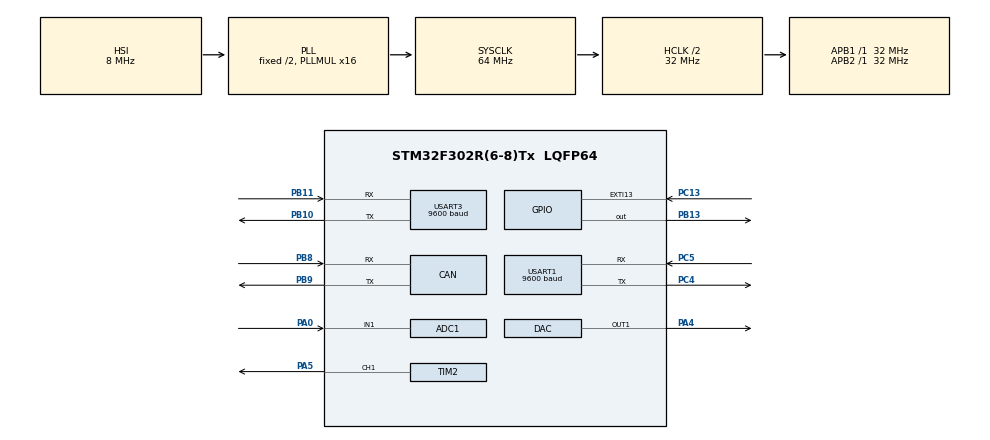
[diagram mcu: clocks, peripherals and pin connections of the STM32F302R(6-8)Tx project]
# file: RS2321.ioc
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ADC1.Channel-2\#ChannelRegularConversion=ADC_CHANNEL_1
ADC1.ClockPrescaler=ADC_CLOCK_ASYNC_DIV1
ADC1.ContinuousConvMode=DISABLE
ADC1.DMAContinuousRequests=DISABLE
ADC1.DataAlign=ADC_DATAALIGN_RIGHT
ADC1.DiscontinuousConvMode=DISABLE
ADC1.EOCSelection=ADC_EOC_SINGLE_CONV
ADC1.EnableAnalogWatchDog1=false
ADC1.EnableAnalogWatchDog2=false
ADC1.EnableAnalogWatchDog3=false
ADC1.EnableInjectedConversion=ENABLE
ADC1.EnableRegularConversion=ENABLE
ADC1.ExternalTrigConv=ADC_SOFTWARE_START
ADC1.ExternalTrigConvEdge=ADC_EXTERNALTRIGCONVEDGE_NONE
ADC1.InjNumberOfConversion=0
ADC1.LowPowerAutoWait=DISABLE
ADC1.NbrOfConversion=1
ADC1.NbrOfConversionFlag=1
ADC1.Offset-2\#ChannelRegularConversion=0
ADC1.OffsetNumber-2\#ChannelRegularConversion=ADC_OFFSET_NONE
ADC1.Overrun=ADC_OVR_DATA_OVERWRITTEN
ADC1.Rank-2\#ChannelRegularConversion=1
ADC1.Resolution=ADC_RESOLUTION_12B
ADC1.SamplingTime-2\#ChannelRegularConversion=ADC_SAMPLETIME_1CYCLE_5
ADC1.ScanConvMode=ADC_SCAN_DISABLE
ADC1.master=1
CAN.CalculateTimeQuantum=500.0
FREERTOS.Tasks01=defaultTask,0,128,StartDefaultTask,Default,NULL,Dynamic,NULL,NULL;LedFlashTask,-2,128,StartLedFlashTask,Default,NULL,Dynamic,NULL,NULL;ReadADC1Task,0,128,StartReadADC1Task,Default,NULL,Dynamic,NULL,NULL
Mcu.Family=STM32F3
Mcu.Name=STM32F302R(6-8)Tx
Mcu.Package=LQFP64
NVIC.PriorityGroup=NVIC_PRIORITYGROUP_4
NVIC.TIM2_IRQn=true\:5\:0\:false\:false\:true\:true\:true
NVIC.USART1_IRQn=true\:5\:0\:false\:false\:true\:true\:true
PA0.Mode=IN1-Single-Ended
PA0.Signal=ADC1_IN1
PA4.Signal=COMP_DAC1_group
PA5.Signal=S_TIM2_CH1_ETR
PB10.Mode=Asynchronous
PB10.Signal=USART3_TX
PB11.Mode=Asynchronous
PB11.Signal=USART3_RX
PB13.PinState=GPIO_PIN_RESET
PB13.Signal=GPIO_Output
PB8.Mode=Master
PB8.Signal=CAN_RX
PB9.Mode=Master
PB9.Signal=CAN_TX
PC13.Signal=GPXTI13
PC4.Mode=Asynchronous
PC4.Signal=USART1_TX
PC5.Mode=Asynchronous
PC5.Signal=USART1_RX
ProjectManager.HeapSize=0x200
ProjectManager.StackSize=0x400
ProjectManager.TargetToolchain=MDK-ARM V5
RCC.ADC12PRES=RCC_ADC1PLLCLK_DIV8
RCC.AHBCLKDivider=RCC_SYSCLK_DIV2
RCC.AHBFreq_Value=32000000
RCC.APB1Freq_Value=32000000
RCC.APB1TimFreq_Value=32000000
RCC.APB2Freq_Value=32000000
RCC.APB2TimFreq_Value=32000000
RCC.CortexFreq_Value=32000000
RCC.HCLKFreq_Value=32000000
RCC.HSE_VALUE=8000000
RCC.HSI_VALUE=8000000
RCC.LSE_VALUE=32768
RCC.PLLMUL=RCC_PLL_MUL16
RCC.SYSCLKFreq_VALUE=64000000
RCC.SYSCLKSourceVirtual=RCC_SYSCLKSOURCE_PLLCLK
RCC.USBFreq_Value=64000000
RTC.Date=21
RTC.Month=RTC_MONTH_NOVEMBER
RTC.WeekDay=RTC_WEEKDAY_WEDNESDAY
RTC.Year=18
SH.COMP_DAC1_group.0=DAC_OUT1,DAC_OUT1
SH.S_TIM2_CH1_ETR.0=TIM2_CH1,PWM Generation1 CH1
TIM2.Channel-PWM\ Generation1\ CH1=TIM_CHANNEL_1
TIM2.Period=100-1
TIM2.Prescaler=320-1
TIM2.Pulse-PWM\ Generation1\ CH1=50
USART1.BaudRate=9600
USART1.VirtualMode-Asynchronous=VM_ASYNC
USART3.BaudRate=9600
USART3.VirtualMode-Asynchronous=VM_ASYNC
VP_CRC_VS_CRC.Mode=CRC_Activate
VP_FREERTOS_VS_ENABLE.Mode=Enabled
VP_IWDG_VS_IWDG.Mode=IWDG_Activate
VP_RTC_VS_RTC_Activate.Mode=RTC_Enabled
VP_RTC_VS_RTC_Calendar.Mode=RTC_Calendar
VP_TIM2_VS_ClockSourceINT.Mode=Internal
board=custom

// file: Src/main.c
/**
  ******************************************************************************
  * @file           : main.c
  * @brief          : Main program body
  ******************************************************************************
  * This notice applies to any and all portions of this file
  * that are not between comment pairs USER CODE BEGIN and
  * USER CODE END. Other portions of this file, whether
  * inserted by the user or by software development tools
  * are owned by their respective copyright owners.
  *
  * Copyright (c) 2018 STMicroelectronics International N.V.
  * All rights reserved.
  *
  * Redistribution and use in source and binary forms, with or without
  * modification, are permitted, provided that the following conditions are met:
  *
  * 1. Redistribution of source code must retain the above copyright notice,
  *    this list of conditions and the following disclaimer.
  * 2. Redistributions in binary form must reproduce the above copyright notice,
  *    this list of conditions and the following disclaimer in the documentation
  *    and/or other materials provided with the distribution.
  * 3. Neither the name of STMicroelectronics nor the names of other
  *    contributors to this software may be used to endorse or promote products
  *    derived from this software without specific written permission.
  * 4. This software, including modifications and/or derivative works of this
  *    software, must execute solely and exclusively on microcontroller or
  *    microprocessor devices manufactured by or for STMicroelectronics.
  * 5. Redistribution and use of this software other than as permitted under
  *    this license is void and will automatically terminate your rights under
  *    this license.
  *
  * THIS SOFTWARE IS PROVIDED BY STMICROELECTRONICS AND CONTRIBUTORS "AS IS"
  * AND ANY EXPRESS, IMPLIED OR STATUTORY WARRANTIES, INCLUDING, BUT NOT
  * LIMITED TO, THE IMPLIED WARRANTIES OF MERCHANTABILITY, FITNESS FOR A
  * PARTICULAR PURPOSE AND NON-INFRINGEMENT OF THIRD PARTY INTELLECTUAL PROPERTY
  * RIGHTS ARE DISCLAIMED TO THE FULLEST EXTENT PERMITTED BY LAW. IN NO EVENT
  * SHALL STMICROELECTRONICS OR CONTRIBUTORS BE LIABLE FOR ANY DIRECT, INDIRECT,
  * INCIDENTAL, SPECIAL, EXEMPLARY, OR CONSEQUENTIAL DAMAGES (INCLUDING, BUT NOT
  * LIMITED TO, PROCUREMENT OF SUBSTITUTE GOODS OR SERVICES; LOSS OF USE, DATA,
  * OR PROFITS; OR BUSINESS INTERRUPTION) HOWEVER CAUSED AND ON ANY THEORY OF
  * LIABILITY, WHETHER IN CONTRACT, STRICT LIABILITY, OR TORT (INCLUDING
  * NEGLIGENCE OR OTHERWISE) ARISING IN ANY WAY OUT OF THE USE OF THIS SOFTWARE,
  * EVEN IF ADVISED OF THE POSSIBILITY OF SUCH DAMAGE.
  *
  ******************************************************************************
  */
#include "main.h"
#include "stm32f3xx_hal.h"
#include "cmsis_os.h"

ADC_HandleTypeDef hadc1;

CAN_HandleTypeDef hcan;

CRC_HandleTypeDef hcrc;

DAC_HandleTypeDef hdac;

IWDG_HandleTypeDef hiwdg;

RTC_HandleTypeDef hrtc;

TIM_HandleTypeDef htim2;

UART_HandleTypeDef huart1;
UART_HandleTypeDef huart3;

osThreadId defaultTaskHandle;
osThreadId LedFlashTaskHandle;
osThreadId ReadADC1TaskHandle;

/* USER CODE BEGIN PV */
/* Private variables ---------------------------------------------------------*/
int  cnt_Timer2=0;
int  cnt_WatchDog=0;
UART_HandleTypeDef UartHandle;
uint32_t adc1_value=0;
uint8_t aShowTime[50] = {0};
float adc1_RealValue=0;

uint8_t aTxBuffer[10];
uint8_t aRxBuffer[1];
uint8_t aRxTempBuffer[26];
_Bool usartRecvFlag=RESET;
_Bool firstJumpToFlag=RESET;
_Bool recvUpdateCmd=RESET;
_Bool feedDogFlag=SET;

/* USER CODE END PV */

void SystemClock_Config(void);
static void MX_GPIO_Init(void);
static void MX_USART1_UART_Init(void);
static void MX_TIM2_Init(void);
static void MX_RTC_Init(void);
static void MX_IWDG_Init(void);
static void MX_CAN_Init(void);
static void MX_ADC1_Init(void);
static void MX_DAC_Init(void);
static void MX_CRC_Init(void);
static void MX_USART3_UART_Init(void);
void StartDefaultTask(void const * argument);
void StartLedFlashTask(void const * argument);
void StartReadADC1Task(void const * argument);

void HAL_TIM_MspPostInit(TIM_HandleTypeDef *htim);

/* USER CODE BEGIN PFP */
/* Private function prototypes -----------------------------------------------*/

/* USER CODE END PFP */

/* USER CODE BEGIN 0 */
#include "stdio.h"

#ifdef __GNUC__

#define PUTCHAR_PROTOTYPE int __io_putchar(int ch)

#else

#define PUTCHAR_PROTOTYPE int fputc(int ch, FILE *f)

#endif

PUTCHAR_PROTOTYPE
{

    HAL_UART_Transmit(&huart1, (uint8_t *)&ch, 1, 0xFFFF);

    return ch;

}
///////////////
#define BootLoaderAddress 0x08000000 //BootLoader
typedef void (*pFunction)(void);

pFunction Jump_To_Application;
uint32_t JumpAddress;
/**
 * @brief LED Types Definition
 */
typedef enum
{
  LED2 = 0,
  LED_GREEN = LED2
} Led_TypeDef;

void Jump()
{
if (((*(__IO uint32_t*)BootLoaderAddress) & 0x2FFE0000 ) == 0x20000000)
    {
      JumpAddress = *(__IO uint32_t*) (BootLoaderAddress + 4);
      Jump_To_Application = (pFunction) JumpAddress;
      __set_MSP(*(__IO uint32_t*) BootLoaderAddress);
      Jump_To_Application();
    }
	}

void BSP_LED_Toggle(Led_TypeDef Led)
{
  HAL_GPIO_TogglePin(GPIOB, GPIO_PIN_13);
}

	static void RTC_TimeShow(uint8_t* showtime)
{
    RTC_DateTypeDef sdatestructureget;
    RTC_TimeTypeDef stimestructureget;

    /* Get the RTC current Time */
    HAL_RTC_GetTime(&hrtc, &stimestructureget, RTC_FORMAT_BIN);
    /* Get the RTC current Date */
    HAL_RTC_GetDate(&hrtc, &sdatestructureget, RTC_FORMAT_BIN);
    /* Display time Format : hh:mm:ss */
    sprintf((char*)showtime,"%02d:%02d:%02d",stimestructureget.Hours, stimestructureget.Minutes, stimestructureget.Seconds);
}

void SetDAC1Volt(double volt)
{
	uint32_t setVoltAD=0;
  setVoltAD=volt*1000*4096/3300;
	HAL_DAC_SetValue(&hdac,DAC_CHANNEL_1,DAC_ALIGN_12B_R,setVoltAD);
	HAL_DAC_Start(&hdac,DAC_CHANNEL_1);
}

  /*
  *
  * Program One line to  Flash
  *
  ******************************************************************************
  */
void Flash_Program_WriteFlag(uint16_t data)
{
  uint32_t FLASH_USER_START_ADDR =  ((uint32_t)0x0800FC00);
	uint32_t pageError=0;
	FLASH_EraseInitTypeDef EraseInitStruct;
	EraseInitStruct.TypeErase=FLASH_TYPEERASE_PAGES;
	EraseInitStruct.PageAddress=FLASH_USER_START_ADDR;
	EraseInitStruct.NbPages=1;

	HAL_FLASH_Unlock();
	HAL_FLASHEx_Erase(&EraseInitStruct,&pageError);
	HAL_FLASH_Program(FLASH_TYPEPROGRAM_HALFWORD,0x0800FFFC,data);
	HAL_FLASH_Lock();
}

uint8_t Flash_CRC8(uint8_t data[],uint32_t startIndex,uint32_t len)
{
	uint16_t crc=0;
	for(uint8_t i=0;i<len;i++)
	{
		crc+=data[startIndex+i];
	}
	return (uint8_t)crc;
}

void CheckUpdateCmd()
{
  if(usartRecvFlag==SET)
	{
	  usartRecvFlag=RESET;

	  if((aRxTempBuffer[0]==0x5A)&&(aRxTempBuffer[1]==0xA5)&&(aRxTempBuffer[2]==0x33)&&(aRxTempBuffer[3]==0x44))
		{
			if(Flash_CRC8(aRxTempBuffer,0,4)==aRxTempBuffer[4])
			{
			  for(uint8_t i=0;i<4;i++)
				{
			  	aRxTempBuffer[i]=0;
				}
				Flash_Program_WriteFlag(0x5555);
				//Jump();
				feedDogFlag=RESET; //use dog to reset MCU
				return;
			}
		}
	}
}

/* USER CODE END 0 */

int main(void)
{
  /* USER CODE BEGIN 1 */
  uint16_t cnt=0;

  /* USER CODE END 1 */

  /* MCU Configuration----------------------------------------------------------*/

  /* Reset of all peripherals, Initializes the Flash interface and the Systick. */
  HAL_Init();

  /* Configure the system clock */
  SystemClock_Config();

  /* Initialize all configured peripherals */
  MX_GPIO_Init();
  MX_USART1_UART_Init();
  MX_TIM2_Init();
  MX_RTC_Init();
  MX_IWDG_Init();
  MX_CAN_Init();
  MX_ADC1_Init();
  MX_DAC_Init();
  MX_CRC_Init();
  MX_USART3_UART_Init();
  /* USER CODE BEGIN 2 */
	HAL_TIM_Base_Start_IT(&htim2);
	__HAL_IWDG_START(&hiwdg);
  //HAL_GPIO_WritePin(GPIOB,GPIO_PIN_13,GPIO_PIN_SET);
	HAL_UART_Receive_IT(&huart1,aRxBuffer,1);//Enable interrupt

  HAL_TIM_PWM_Start(&htim2,TIM_CHANNEL_1);
  HAL_GPIO_WritePin(GPIOB,GPIO_PIN_13,GPIO_PIN_SET);
  SetDAC1Volt(1.5);
	printf("ON");

	char a=0xaa;

	 HAL_UART_Transmit(&huart1 , (uint8_t *)&a, 1, 0x100);

  /* USER CODE END 2 */

  /* Create the thread(s) */
  /* definition and creation of defaultTask */
  osThreadDef(defaultTask, StartDefaultTask, osPriorityNormal, 0, 128);
  defaultTaskHandle = osThreadCreate(osThread(defaultTask), NULL);

  /* definition and creation of LedFlashTask */
  osThreadDef(LedFlashTask, StartLedFlashTask, osPriorityLow, 0, 128);
  LedFlashTaskHandle = osThreadCreate(osThread(LedFlashTask), NULL);

  /* definition and creation of ReadADC1Task */
  osThreadDef(ReadADC1Task, StartReadADC1Task, osPriorityNormal, 0, 128);
  ReadADC1TaskHandle = osThreadCreate(osThread(ReadADC1Task), NULL);

  /* Start scheduler */
  osKernelStart();

  /* We should never get here as control is now taken by the scheduler */

  /* Infinite loop */
  while (1)
  {

  }

}

void SystemClock_Config(void)
{

  RCC_OscInitTypeDef RCC_OscInitStruct;
  RCC_ClkInitTypeDef RCC_ClkInitStruct;
  RCC_PeriphCLKInitTypeDef PeriphClkInit;

    /**Initializes the CPU, AHB and APB busses clocks
    */
  RCC_OscInitStruct.OscillatorType = RCC_OSCILLATORTYPE_HSI|RCC_OSCILLATORTYPE_LSI;
  RCC_OscInitStruct.HSIState = RCC_HSI_ON;
  RCC_OscInitStruct.HSICalibrationValue = 16;
  RCC_OscInitStruct.LSIState = RCC_LSI_ON;
  RCC_OscInitStruct.PLL.PLLState = RCC_PLL_ON;
  RCC_OscInitStruct.PLL.PLLSource = RCC_PLLSOURCE_HSI;
  RCC_OscInitStruct.PLL.PLLMUL = RCC_PLL_MUL16;
  if (HAL_RCC_OscConfig(&RCC_OscInitStruct) != HAL_OK)
  {
    _Error_Handler(__FILE__, __LINE__);
  }

    /**Initializes the CPU, AHB and APB busses clocks
    */
  RCC_ClkInitStruct.ClockType = RCC_CLOCKTYPE_HCLK|RCC_CLOCKTYPE_SYSCLK
                              |RCC_CLOCKTYPE_PCLK1|RCC_CLOCKTYPE_PCLK2;
  RCC_ClkInitStruct.SYSCLKSource = RCC_SYSCLKSOURCE_PLLCLK;
  RCC_ClkInitStruct.AHBCLKDivider = RCC_SYSCLK_DIV2;
  RCC_ClkInitStruct.APB1CLKDivider = RCC_HCLK_DIV1;
  RCC_ClkInitStruct.APB2CLKDivider = RCC_HCLK_DIV1;

  if (HAL_RCC_ClockConfig(&RCC_ClkInitStruct, FLASH_LATENCY_1) != HAL_OK)
  {
    _Error_Handler(__FILE__, __LINE__);
  }

  PeriphClkInit.PeriphClockSelection = RCC_PERIPHCLK_USART1|RCC_PERIPHCLK_RTC
                              |RCC_PERIPHCLK_ADC1;
  PeriphClkInit.Usart1ClockSelection = RCC_USART1CLKSOURCE_PCLK1;
  PeriphClkInit.RTCClockSelection = RCC_RTCCLKSOURCE_LSI;
  PeriphClkInit.Adc1ClockSelection = RCC_ADC1PLLCLK_DIV8;

  if (HAL_RCCEx_PeriphCLKConfig(&PeriphClkInit) != HAL_OK)
  {
    _Error_Handler(__FILE__, __LINE__);
  }

    /**Configure the Systick interrupt time
    */
  HAL_SYSTICK_Config(HAL_RCC_GetHCLKFreq()/1000);

    /**Configure the Systick
    */
  HAL_SYSTICK_CLKSourceConfig(SYSTICK_CLKSOURCE_HCLK);

  /* SysTick_IRQn interrupt configuration */
  HAL_NVIC_SetPriority(SysTick_IRQn, 15, 0);
}

/* ADC1 init function */
static void MX_ADC1_Init(void)
{

  ADC_ChannelConfTypeDef sConfig;

    /**Common config
    */
  hadc1.Instance = ADC1;
  hadc1.Init.ClockPrescaler = ADC_CLOCK_ASYNC_DIV1;
  hadc1.Init.Resolution = ADC_RESOLUTION_12B;
  hadc1.Init.ScanConvMode = ADC_SCAN_DISABLE;
  hadc1.Init.ContinuousConvMode = DISABLE;
  hadc1.Init.DiscontinuousConvMode = DISABLE;
  hadc1.Init.ExternalTrigConvEdge = ADC_EXTERNALTRIGCONVEDGE_NONE;
  hadc1.Init.ExternalTrigConv = ADC_SOFTWARE_START;
  hadc1.Init.DataAlign = ADC_DATAALIGN_RIGHT;
  hadc1.Init.NbrOfConversion = 1;
  hadc1.Init.DMAContinuousRequests = DISABLE;
  hadc1.Init.EOCSelection = ADC_EOC_SINGLE_CONV;
  hadc1.Init.LowPowerAutoWait = DISABLE;
  hadc1.Init.Overrun = ADC_OVR_DATA_OVERWRITTEN;
  if (HAL_ADC_Init(&hadc1) != HAL_OK)
  {
    _Error_Handler(__FILE__, __LINE__);
  }

    /**Configure Regular Channel
    */
  sConfig.Channel = ADC_CHANNEL_1;
  sConfig.Rank = ADC_REGULAR_RANK_1;
  sConfig.SingleDiff = ADC_SINGLE_ENDED;
  sConfig.SamplingTime = ADC_SAMPLETIME_1CYCLE_5;
  sConfig.OffsetNumber = ADC_OFFSET_NONE;
  sConfig.Offset = 0;
  if (HAL_ADC_ConfigChannel(&hadc1, &sConfig) != HAL_OK)
  {
    _Error_Handler(__FILE__, __LINE__);
  }

}

/* CAN init function */
static void MX_CAN_Init(void)
{

  hcan.Instance = CAN;
  hcan.Init.Prescaler = 16;
  hcan.Init.Mode = CAN_MODE_NORMAL;
  hcan.Init.SyncJumpWidth = CAN_SJW_1TQ;
  hcan.Init.TimeSeg1 = CAN_BS1_1TQ;
  hcan.Init.TimeSeg2 = CAN_BS2_1TQ;
  hcan.Init.TimeTriggeredMode = DISABLE;
  hcan.Init.AutoBusOff = DISABLE;
  hcan.Init.AutoWakeUp = DISABLE;
  hcan.Init.AutoRetransmission = DISABLE;
  hcan.Init.ReceiveFifoLocked = DISABLE;
  hcan.Init.TransmitFifoPriority = DISABLE;
  if (HAL_CAN_Init(&hcan) != HAL_OK)
  {
    _Error_Handler(__FILE__, __LINE__);
  }

}

/* CRC init function */
static void MX_CRC_Init(void)
{

  hcrc.Instance = CRC;
  hcrc.Init.DefaultPolynomialUse = DEFAULT_POLYNOMIAL_ENABLE;
  hcrc.Init.DefaultInitValueUse = DEFAULT_INIT_VALUE_ENABLE;
  hcrc.Init.InputDataInversionMode = CRC_INPUTDATA_INVERSION_NONE;
  hcrc.Init.OutputDataInversionMode = CRC_OUTPUTDATA_INVERSION_DISABLE;
  hcrc.InputDataFormat = CRC_INPUTDATA_FORMAT_BYTES;
  if (HAL_CRC_Init(&hcrc) != HAL_OK)
  {
    _Error_Handler(__FILE__, __LINE__);
  }

}

/* DAC init function */
static void MX_DAC_Init(void)
{

  DAC_ChannelConfTypeDef sConfig;

    /**DAC Initialization
    */
  hdac.Instance = DAC;
  if (HAL_DAC_Init(&hdac) != HAL_OK)
  {
    _Error_Handler(__FILE__, __LINE__);
  }

    /**DAC channel OUT1 config
    */
  sConfig.DAC_Trigger = DAC_TRIGGER_NONE;
  sConfig.DAC_OutputBuffer = DAC_OUTPUTBUFFER_ENABLE;
  if (HAL_DAC_ConfigChannel(&hdac, &sConfig, DAC_CHANNEL_1) != HAL_OK)
  {
    _Error_Handler(__FILE__, __LINE__);
  }

}

/* IWDG init function */
static void MX_IWDG_Init(void)
{

  hiwdg.Instance = IWDG;
  hiwdg.Init.Prescaler = IWDG_PRESCALER_4;
  hiwdg.Init.Window = 4095;
  hiwdg.Init.Reload = 4095;
  if (HAL_IWDG_Init(&hiwdg) != HAL_OK)
  {
    _Error_Handler(__FILE__, __LINE__);
  }

}

/* RTC init function */
static void MX_RTC_Init(void)
{

  RTC_TimeTypeDef sTime;
  RTC_DateTypeDef sDate;

    /**Initialize RTC Only
    */
  hrtc.Instance = RTC;
  hrtc.Init.HourFormat = RTC_HOURFORMAT_24;
  hrtc.Init.AsynchPrediv = 127;
  hrtc.Init.SynchPrediv = 255;
  hrtc.Init.OutPut = RTC_OUTPUT_DISABLE;
  hrtc.Init.OutPutPolarity = RTC_OUTPUT_POLARITY_HIGH;
  hrtc.Init.OutPutType = RTC_OUTPUT_TYPE_OPENDRAIN;
  if (HAL_RTC_Init(&hrtc) != HAL_OK)
  {
    _Error_Handler(__FILE__, __LINE__);
  }

    /**Initialize RTC and set the Time and Date
    */
  sTime.Hours = 0x0;
  sTime.Minutes = 0x0;
  sTime.Seconds = 0x0;
  sTime.DayLightSaving = RTC_DAYLIGHTSAVING_NONE;
  sTime.StoreOperation = RTC_STOREOPERATION_RESET;
  if (HAL_RTC_SetTime(&hrtc, &sTime, RTC_FORMAT_BCD) != HAL_OK)
  {
    _Error_Handler(__FILE__, __LINE__);
  }

  sDate.WeekDay = RTC_WEEKDAY_WEDNESDAY;
  sDate.Month = RTC_MONTH_NOVEMBER;
  sDate.Date = 0x21;
  sDate.Year = 0x18;

  if (HAL_RTC_SetDate(&hrtc, &sDate, RTC_FORMAT_BCD) != HAL_OK)
  {
    _Error_Handler(__FILE__, __LINE__);
  }

}

/* TIM2 init function */
static void MX_TIM2_Init(void)
{

  TIM_ClockConfigTypeDef sClockSourceConfig;
  TIM_MasterConfigTypeDef sMasterConfig;
  TIM_OC_InitTypeDef sConfigOC;

  htim2.Instance = TIM2;
  htim2.Init.Prescaler = 320-1;
  htim2.Init.CounterMode = TIM_COUNTERMODE_UP;
  htim2.Init.Period = 100-1;
  htim2.Init.ClockDivision = TIM_CLOCKDIVISION_DIV1;
  htim2.Init.AutoReloadPreload = TIM_AUTORELOAD_PRELOAD_DISABLE;
  if (HAL_TIM_Base_Init(&htim2) != HAL_OK)
  {
    _Error_Handler(__FILE__, __LINE__);
  }

  sClockSourceConfig.ClockSource = TIM_CLOCKSOURCE_INTERNAL;
  if (HAL_TIM_ConfigClockSource(&htim2, &sClockSourceConfig) != HAL_OK)
  {
    _Error_Handler(__FILE__, __LINE__);
  }

  if (HAL_TIM_PWM_Init(&htim2) != HAL_OK)
  {
    _Error_Handler(__FILE__, __LINE__);
  }

  sMasterConfig.MasterOutputTrigger = TIM_TRGO_RESET;
  sMasterConfig.MasterSlaveMode = TIM_MASTERSLAVEMODE_DISABLE;
  if (HAL_TIMEx_MasterConfigSynchronization(&htim2, &sMasterConfig) != HAL_OK)
  {
    _Error_Handler(__FILE__, __LINE__);
  }

  sConfigOC.OCMode = TIM_OCMODE_PWM1;
  sConfigOC.Pulse = 50;
  sConfigOC.OCPolarity = TIM_OCPOLARITY_HIGH;
  sConfigOC.OCFastMode = TIM_OCFAST_DISABLE;
  if (HAL_TIM_PWM_ConfigChannel(&htim2, &sConfigOC, TIM_CHANNEL_1) != HAL_OK)
  {
    _Error_Handler(__FILE__, __LINE__);
  }

  HAL_TIM_MspPostInit(&htim2);

}

/* USART1 init function */
static void MX_USART1_UART_Init(void)
{

  huart1.Instance = USART1;
  huart1.Init.BaudRate = 9600;
  huart1.Init.WordLength = UART_WORDLENGTH_8B;
  huart1.Init.StopBits = UART_STOPBITS_1;
  huart1.Init.Parity = UART_PARITY_NONE;
  huart1.Init.Mode = UART_MODE_TX_RX;
  huart1.Init.HwFlowCtl = UART_HWCONTROL_NONE;
  huart1.Init.OverSampling = UART_OVERSAMPLING_16;
  huart1.Init.OneBitSampling = UART_ONE_BIT_SAMPLE_DISABLE;
  huart1.AdvancedInit.AdvFeatureInit = UART_ADVFEATURE_NO_INIT;
  if (HAL_UART_Init(&huart1) != HAL_OK)
  {
    _Error_Handler(__FILE__, __LINE__);
  }

}

/* USART3 init function */
static void MX_USART3_UART_Init(void)
{

  huart3.Instance = USART3;
  huart3.Init.BaudRate = 9600;
  huart3.Init.WordLength = UART_WORDLENGTH_8B;
  huart3.Init.StopBits = UART_STOPBITS_1;
  huart3.Init.Parity = UART_PARITY_NONE;
  huart3.Init.Mode = UART_MODE_TX_RX;
  huart3.Init.HwFlowCtl = UART_HWCONTROL_NONE;
  huart3.Init.OverSampling = UART_OVERSAMPLING_16;
  huart3.Init.OneBitSampling = UART_ONE_BIT_SAMPLE_DISABLE;
  huart3.AdvancedInit.AdvFeatureInit = UART_ADVFEATURE_NO_INIT;
  if (HAL_UART_Init(&huart3) != HAL_OK)
  {
    _Error_Handler(__FILE__, __LINE__);
  }

}

/** Configure pins as
        * Analog
        * Input
        * Output
        * EVENT_OUT
        * EXTI
*/
static void MX_GPIO_Init(void)
{

  GPIO_InitTypeDef GPIO_InitStruct;

  /* GPIO Ports Clock Enable */
  __HAL_RCC_GPIOC_CLK_ENABLE();
  __HAL_RCC_GPIOA_CLK_ENABLE();
  __HAL_RCC_GPIOB_CLK_ENABLE();

  /*Configure GPIO pin Output Level */
  HAL_GPIO_WritePin(GPIOB, GPIO_PIN_13, GPIO_PIN_RESET);

  /*Configure GPIO pin : PC13 */
  GPIO_InitStruct.Pin = GPIO_PIN_13;
  GPIO_InitStruct.Mode = GPIO_MODE_IT_RISING;
  GPIO_InitStruct.Pull = GPIO_NOPULL;
  HAL_GPIO_Init(GPIOC, &GPIO_InitStruct);

  /*Configure GPIO pin : PB13 */
  GPIO_InitStruct.Pin = GPIO_PIN_13;
  GPIO_InitStruct.Mode = GPIO_MODE_OUTPUT_PP;
  GPIO_InitStruct.Pull = GPIO_NOPULL;
  GPIO_InitStruct.Speed = GPIO_SPEED_FREQ_LOW;
  HAL_GPIO_Init(GPIOB, &GPIO_InitStruct);

}

/* USER CODE BEGIN 4 */

void HAL_TIM_PeriodElapsedCallback(TIM_HandleTypeDef *htim)
{
	if(cnt_Timer2<65535)
	{
    cnt_Timer2++;
	}
	else
	{
		cnt_Timer2=0;
	}

		if(cnt_WatchDog<65535)
	{
    cnt_WatchDog++;
	}
	else
	{
		cnt_WatchDog=0;
	}

}

/**
  * @brief EXTI line detection callbacks
  * @param GPIO_Pin: Specifies the pins connected EXTI line
  * @retval None
  */
void HAL_GPIO_EXTI_Callback(uint16_t GPIO_Pin)
{

  if (GPIO_Pin == GPIO_PIN_13)
  {
    HAL_GPIO_TogglePin(GPIOB, GPIO_PIN_13);

  }
}

	void HAL_UART_RxCpltCallback(UART_HandleTypeDef *huart)
{
	if(huart->Instance==USART1)
	{
		aRxTempBuffer[25]=aRxBuffer[0];

		for(uint8_t i=0;i<25;i++)
		{
			aRxTempBuffer[i]=aRxTempBuffer[i+1];
		}

    HAL_UART_Receive_IT(&huart1,aRxBuffer,1);

		if((aRxTempBuffer[0]==0x5A)&&(aRxTempBuffer[1]==0xA5))
		{
			usartRecvFlag=SET;
		}
	}
}

/* USER CODE END 4 */

void StartDefaultTask(void const * argument)
{

  /* USER CODE BEGIN 5 */
  /* Infinite loop */
  for(;;)
  {
	  char a=0xab;

	  //HAL_UART_Transmit(&huart1 , (uint8_t *)&a, 1, 0x100);

		CheckUpdateCmd();
	  RTC_TimeShow(aShowTime);
		if(feedDogFlag==SET)
		{
			HAL_IWDG_Refresh(&hiwdg);//FeedDog
		}
    osDelay(50);
  }
  /* USER CODE END 5 */
}

void StartLedFlashTask(void const * argument)
{
  /* USER CODE BEGIN StartLedFlashTask */
  /* Infinite loop */
  for(;;)
  {
		HAL_GPIO_WritePin(GPIOB,GPIO_PIN_13,GPIO_PIN_SET);
    osDelay(500);
		HAL_GPIO_WritePin(GPIOB,GPIO_PIN_13,GPIO_PIN_RESET);
		osDelay(100);
  }
  /* USER CODE END StartLedFlashTask */
}

void StartReadADC1Task(void const * argument)
{
  /* USER CODE BEGIN StartReadADC1Task */
  /* Infinite loop */
  for(;;)
  {
	    HAL_ADC_Start(&hadc1);
			HAL_ADC_PollForConversion(&hadc1,10);
			adc1_value = HAL_ADC_GetValue(&hadc1);
      adc1_RealValue=adc1_value*3.3/4096;
      osDelay(10);
  }
  /* USER CODE END StartReadADC1Task */
}

void _Error_Handler(char *file, int line)
{
  while(1)
  {
  }
}

/************************ (C) COPYRIGHT STMicroelectronics *****END OF FILE****/
